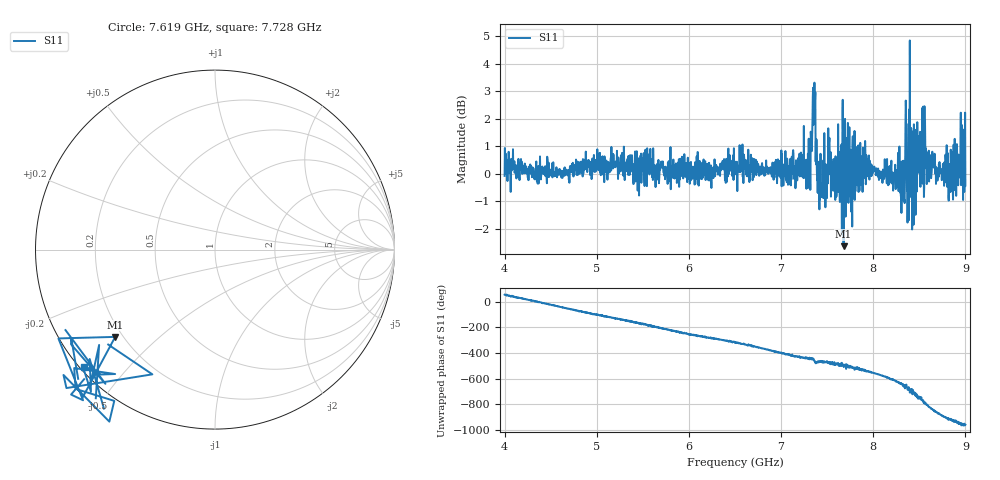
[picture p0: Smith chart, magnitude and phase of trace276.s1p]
! Created with skrf 1.8.0 (http://scikit-rf.org).
# Hz S RI R 50.0
!freq ReS11 ImS11
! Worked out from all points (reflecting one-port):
!   1601 points, 4 GHz to 9 GHz, reference 50 ohm
!   lowest |S11| = -2.6 dB at 7.678 GHz (marker M1), VSWR 6.66, Z = 8.55 - j18.3 ohm
!   phase of S11 starts at 53 deg and turns -1011 deg over the sweep
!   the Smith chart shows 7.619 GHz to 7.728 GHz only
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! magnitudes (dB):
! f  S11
! 4 GHz  -0.1
! 4.625 GHz  -0.1
! 5.25 GHz  0.2
! 5.875 GHz  0.1
! 6.5 GHz  0.2
! 7.125 GHz  0.4
! 7.294 GHz  0.2
! 7.316 GHz  -0.6
! 7.347 GHz  3.1
! 7.369 GHz  2.7
! 7.4 GHz  -0.2
! 7.428 GHz  0.7
! 7.525 GHz  1.3
! 7.591 GHz  0.6
! 7.678 GHz  -2.6
! 7.75 GHz  -0.8
! 7.891 GHz  0.0
! 8.259 GHz  0.0
! 8.316 GHz  0.5
! 8.334 GHz  -0.9
! 8.375 GHz  -0.7
! 8.447 GHz  1.2
! 8.466 GHz  -0.7
! 8.553 GHz  -0.5
! 8.606 GHz  -0.3
! 8.841 GHz  0.9
! 8.972 GHz  0.1
! 9 GHz  -0.4
